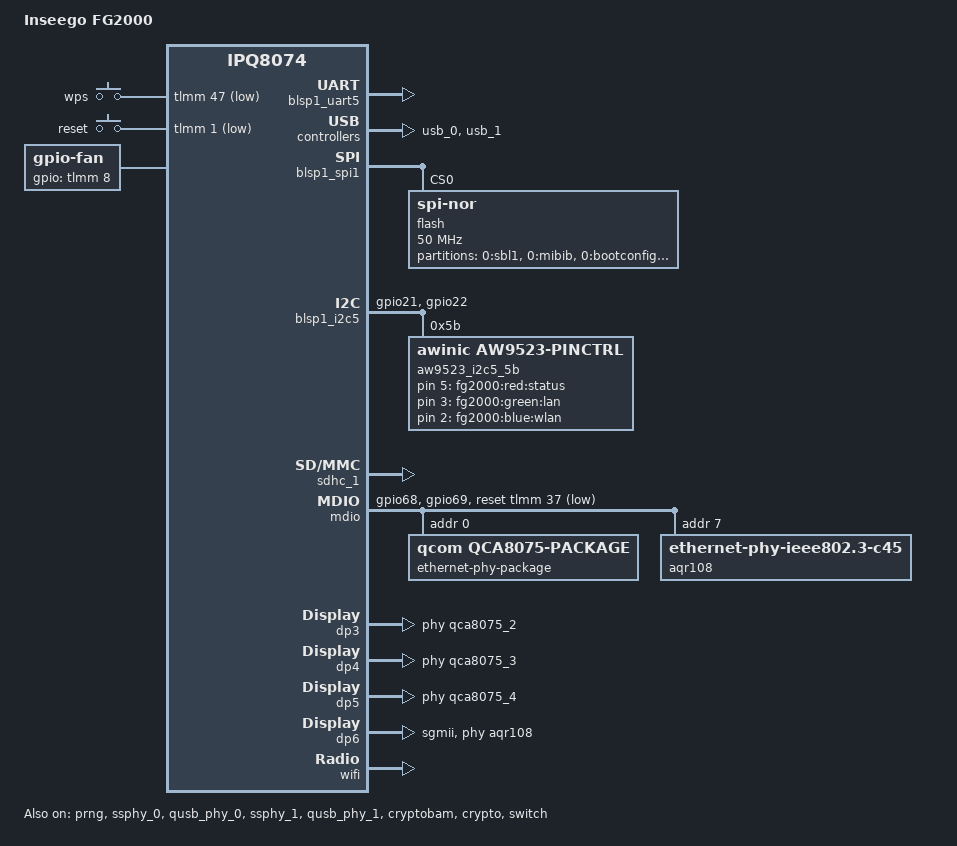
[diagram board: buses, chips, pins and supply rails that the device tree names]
/* SPDX-License-Identifier: GPL-2.0-or-later OR MIT
 *
 * Copyright (c) 2018 Teemo Pango <teemopango@gmail.com>
 *
 */

/dts-v1/;

#include "ipq8074.dtsi"
#include "ipq8074-ess.dtsi"
#include "ipq8074-nss.dtsi"
#include "ipq8074-hk-cpu.dtsi"

#include <dt-bindings/gpio/gpio.h>
#include <dt-bindings/input/input.h>
#include <dt-bindings/leds/common.h>

/ {
	model = "Inseego FG2000";
	compatible = "inseego,fg2000", "qcom,ipq8074";

	aliases {
		serial0 = &blsp1_uart5;
		sdhc1 = &sdhc_1;
		ethernet0 = &dp1;
		ethernet1 = &dp2;
		ethernet2 = &dp3;
		ethernet3 = &dp4;
		ethernet4 = &dp5;
		ethernet5 = &dp6;
		label-mac-device = &dp3;

		led-boot = &led_red;
		led-running = &led_green;
		led-failsafe = &led_red;
		led-upgrade = &led_blue;
	};

	chosen {
		stdout-path = "serial0:115200n8";
		bootargs-append = " swiotlb=1 coherent_pool=2M";
	};

	keys {
		compatible = "gpio-keys";

		wps-button {
			label = "wps";
			gpios = <&tlmm 47 GPIO_ACTIVE_LOW>;
			linux,code = <KEY_WPS_BUTTON>;
		};

		reset-button {
			label = "reset";
			gpios = <&tlmm 1 GPIO_ACTIVE_LOW>;
			linux,code = <KEY_RESTART>;
		};
	};

	leds {
		compatible = "gpio-leds";

		led_red: led-red {
			label = "fg2000:red:status";
			gpios = <&aw9523_i2c5_5b 5 GPIO_ACTIVE_HIGH>;
			default-state = "off";
		};

		led_green: led-green {
			label = "fg2000:green:lan";
			gpios = <&aw9523_i2c5_5b 3 GPIO_ACTIVE_HIGH>;
			default-state = "off";
		};

		led_blue: led-blue {
			label = "fg2000:blue:wlan";
			gpios = <&aw9523_i2c5_5b 2 GPIO_ACTIVE_HIGH>;
			default-state = "off";
		};
	};

	fan: gpio-fan {
		#cooling-cells = <2>;
		compatible = "gpio-fan";
		gpios = <&tlmm 8 GPIO_ACTIVE_HIGH>;
		gpio-fan,speed-map = <0 0>, <1 1>;
	};
};

&cpu0_thermal {
	trips {
		cpu0_trip_active: cpu-active {
			temperature = <60000>;
			hysteresis = <2000>;
			type = "active";
		};
	};
	cooling-maps {
		cpu-active {
			cooling-device = <&fan THERMAL_NO_LIMIT THERMAL_NO_LIMIT>;
			trip = <&cpu0_trip_active>;
		};
	};
};

&cpu1_thermal {
	trips {
		cpu1_trip_active: cpu-active {
			temperature = <60000>;
			hysteresis = <2000>;
			type = "active";
		};
	};
	cooling-maps {
		cpu-active {
			cooling-device = <&fan THERMAL_NO_LIMIT THERMAL_NO_LIMIT>;
			trip = <&cpu1_trip_active>;
		};
	};
};

&cpu2_thermal {
	trips {
		cpu2_trip_active: cpu-active {
			temperature = <60000>;
			hysteresis = <2000>;
			type = "active";
		};
	};
	cooling-maps {
		cpu-active {
			cooling-device = <&fan THERMAL_NO_LIMIT THERMAL_NO_LIMIT>;
			trip = <&cpu2_trip_active>;
		};
	};
};

&cpu3_thermal {
	trips {
		cpu3_trip_active: cpu-active {
			temperature = <60000>;
			hysteresis = <2000>;
			type = "active";
		};
	};
	cooling-maps {
		cpu-active {
			cooling-device = <&fan THERMAL_NO_LIMIT THERMAL_NO_LIMIT>;
			trip = <&cpu3_trip_active>;
		};
	};
};

&cluster_thermal {
	trips {
		cluster_active: cluster-active {
			temperature = <60000>;
			hysteresis = <2000>;
			type = "active";
		};
	};
	cooling-maps {
		cluster-active {
			cooling-device = <&fan THERMAL_NO_LIMIT THERMAL_NO_LIMIT>;
			trip = <&cluster_active>;
		};
	};
};

&tlmm {
	fg2000_mdio_pins: mdio-state {
		mdc-pins {
			pins = "gpio68";
			function = "mdc";
			drive-strength = <8>;
			bias-disable;
		};

		mdio-pins {
			pins = "gpio69";
			function = "mdio";
			drive-strength = <8>;
			bias-pull-up;
		};
	};

	i2c_2_pins: i2c-2-state {
		pins = "gpio21", "gpio22";
		function = "blsp4_i2c1";
		drive-strength = <8>;
		bias-pull-up;
	};

	/*
	 * AQR108 电源使能 gpio11-14 和复位 gpio50 不在 Linux 侧声明。
	 * U-Boot 的 board_init 已经把 gpio11-14 拉高，
	 * aqr108_rst_gpio_set 已经完成 gpio50 复位脉冲。
	 * Linux 完全不碰这些 GPIO，保持 U-Boot 配置的状态。
	 * 与 QSDK 的行为一致。
	 */
};

&edma {
	status = "okay";
};

&blsp1_uart5 {
	status = "okay";
};

&prng {
	status = "okay";
};

&ssphy_0 {
	status = "okay";
};

&qusb_phy_0 {
	status = "okay";
};

&ssphy_1 {
	status = "okay";
};

&qusb_phy_1 {
	status = "okay";
};

&usb_0 {
	status = "okay";
};

&usb_1 {
	status = "okay";
};

&cryptobam {
	status = "okay";
};

&crypto {
	status = "okay";
};

&blsp1_spi1 {
	status = "okay";

	flash@0 {
		compatible = "jedec,spi-nor";
		spi-max-frequency = <50000000>;
		#address-cells = <1>;
		#size-cells = <1>;
		reg = <0>;

		partitions {
			compatible = "fixed-partitions";
			#address-cells = <1>;
			#size-cells = <1>;

			partition@0 {
				label = "0:sbl1";
				reg = <0x0 0x50000>;
			};

			partition@50000 {
				label = "0:mibib";
				reg = <0x50000 0x10000>;
			};

			partition@60000 {
				label = "0:bootconfig";
				reg = <0x60000 0x20000>;
			};

			partition@80000 {
				label = "0:bootconfig1";
				reg = <0x80000 0x20000>;
			};

			partition@a0000 {
				label = "0:qsee";
				reg = <0xa0000 0x180000>;
			};

			partition@220000 {
				label = "0:qsee_1";
				reg = <0x220000 0x180000>;
			};

			partition@3a0000 {
				label = "0:devcfg";
				reg = <0x3a0000 0x10000>;
			};

			partition@3b0000 {
				label = "0:devcfg_1";
				reg = <0x3b0000 0x10000>;
			};

			partition@3c0000 {
				label = "0:apdp";
				reg = <0x3c0000 0x10000>;
			};

			partition@3d0000 {
				label = "0:apdp_1";
				reg = <0x3d0000 0x10000>;
			};

			partition@3e0000 {
				label = "0:rpm";
				reg = <0x3e0000 0x40000>;
			};

			partition@420000 {
				label = "0:rpm_1";
				reg = <0x420000 0x40000>;
			};

			partition@460000 {
				label = "0:cdt";
				reg = <0x460000 0x10000>;
			};

			partition@470000 {
				label = "0:cdt_1";
				reg = <0x470000 0x10000>;
			};

			partition@480000 {
				label = "0:appsblenv";
				reg = <0x480000 0x10000>;
			};

			partition@490000 {
				label = "0:appsbl";
				reg = <0x490000 0xa0000>;
			};

			partition@530000 {
				label = "0:appsbl_1";
				reg = <0x530000 0xa0000>;
			};

			partition@5d0000 {
				label = "0:art";
				reg = <0x5d0000 0x40000>;
			};

			partition@610000 {
				label = "0:ethphyfw";
				reg = <0x610000 0x80000>;
				compatible = "nvmem-cells";
				#address-cells = <1>;
				#size-cells = <1>;

				/*
				 * QSDK ethphyfw 分区的 .cld 实际大小是 0x5fc02，
				 * MBN 头 0x28 字节，nvmem 从 0x28 开始读 0x5fc02。
				 * 如果换回自己的 .cld（0x60002），需要改回 0x60002。
				 */
				aqr108_fw: firmware@0 {
					reg = <0x28 0x5fc02>;
				};
			};
		};
	};
};

&blsp1_i2c5 {
	status = "okay";
	pinctrl-0 = <&i2c_2_pins>;
	pinctrl-names = "default";

	aw9523_i2c5_5b: gpio-expander@5b {
		compatible = "awinic,aw9523-pinctrl";
		reg = <0x5b>;
		gpio-controller;
		#gpio-cells = <2>;
		status = "okay";
	};
};

&sdhc_1 {
	status = "okay";

	/delete-property/ mmc-hs400-1_8v;
	mmc-hs200-1_8v;
	mmc-ddr-1_8v;
	vqmmc-supply = <&l11>;
};

&mdio {
	status = "okay";
	pinctrl-0 = <&fg2000_mdio_pins>;
	pinctrl-names = "default";
	reset-gpios = <&tlmm 37 GPIO_ACTIVE_LOW>;

	ethernet-phy-package@0 {
		#address-cells = <1>;
		#size-cells = <0>;
		compatible = "qcom,qca8075-package";
		reg = <0>;
		qcom,package-mode = "psgmii";

		qca8075_0: ethernet-phy@0 {
			compatible = "ethernet-phy-ieee802.3-c22";
			reg = <0>;
		};

		qca8075_1: ethernet-phy@1 {
			compatible = "ethernet-phy-ieee802.3-c22";
			reg = <1>;
		};

		qca8075_2: ethernet-phy@2 {
			compatible = "ethernet-phy-ieee802.3-c22";
			reg = <2>;
		};

		qca8075_3: ethernet-phy@3 {
			compatible = "ethernet-phy-ieee802.3-c22";
			reg = <3>;
		};

		qca8075_4: ethernet-phy@4 {
			compatible = "ethernet-phy-ieee802.3-c22";
			reg = <4>;
		};
	};

	/*
	 * 与 QSDK 对齐：不在 AQR108 节点声明 reset-gpios。
	 * U-Boot 的 aqr108_rst_gpio_set 已经完成复位，
	 * Linux 不再触发复位脉冲，保持 PHY 固件运行状态。
	 */
	aqr108: ethernet-phy@7 {
		compatible = "ethernet-phy-ieee802.3-c45";
		reg = <7>;

		nvmem-cells = <&aqr108_fw>;
		nvmem-cell-names = "firmware";
	};
};

&dp1 {
	status = "disabled";
	phy-handle = <&qca8075_0>;
};

&dp2 {
	status = "disabled";
	phy-handle = <&qca8075_1>;
};

&dp3 {
	status = "okay";
	phy-handle = <&qca8075_2>;
	label = "wan";
};

&dp4 {
	status = "okay";
	phy-handle = <&qca8075_3>;
	label = "lan1";
};

&dp5 {
	status = "okay";
	phy-handle = <&qca8075_4>;
	label = "lan2";
};

/*
 * 与 QSDK 对齐：phy-mode = "sgmii" + qcom,mactype = <1>。
 * QSDK 的 dp6 用 sgmii + mactype=1 表示 10G，nss-dp 靠 mactype
 * 判断 10G，phy-mode 只是传给 PHY 驱动的 interface 描述。
 */
&dp6 {
	status = "okay";
	phy-mode = "sgmii";
	phy-handle = <&aqr108>;
	qcom,mactype = <1>;
	label = "lan3";
};

&switch {
	status = "okay";
	/* 与 QSDK 对齐：port 1-5 为 LAN，port 6（AQR108）为 WAN */
	switch_lan_bmp = <(ESS_PORT1 | ESS_PORT2 | ESS_PORT3 | ESS_PORT4 | ESS_PORT5)>;
	switch_wan_bmp = <ESS_PORT6>;
	switch_mac_mode = <MAC_MODE_PSGMII>;
	switch_mac_mode1 = <MAC_MODE_DISABLED>;
	switch_mac_mode2 = <MAC_MODE_USXGMII>;

	qcom,port_phyinfo {
		port@1 {
			port_id = <1>;
			phy_address = <0>;
		};

		port@2 {
			port_id = <2>;
			phy_address = <1>;
		};

		port@3 {
			port_id = <3>;
			phy_address = <2>;
		};

		port@4 {
			port_id = <4>;
			phy_address = <3>;
		};

		port@5 {
			port_id = <5>;
			phy_address = <4>;
		};

		port@6 {
			port_id = <6>;
			phy_address = <7>;
			compatible = "ethernet-phy-ieee802.3-c45";
			ethernet-phy-ieee802.3-c45;
		};
	};
};

&wifi {
	status = "okay";
	compatible = "qcom,ipq8074-wifi";
	qcom,ath11k-fw-memory-mode = <1>;
	qcom,ath11k-calibration-variant = "Inseego-FG2000";
};
